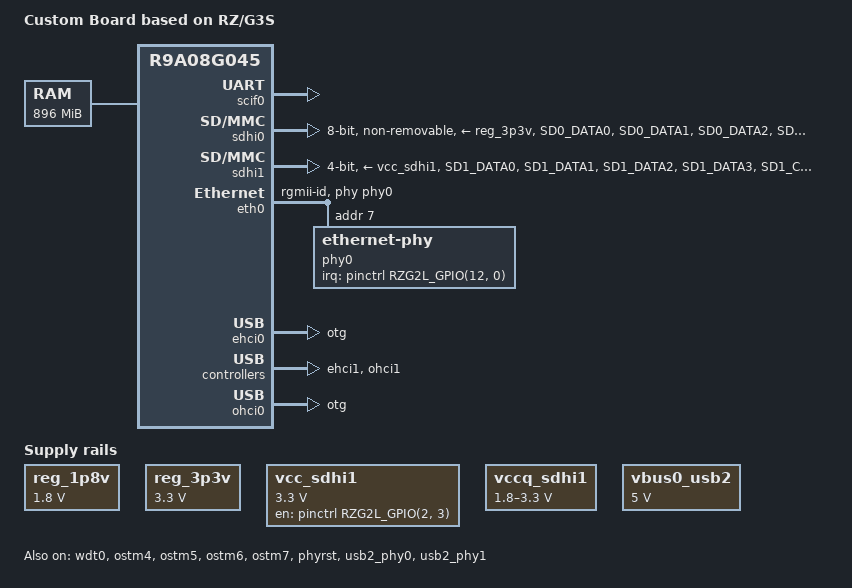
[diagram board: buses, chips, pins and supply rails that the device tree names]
/dts-v1/;
#include <dt-bindings/gpio/gpio.h>
#include <dt-bindings/pinctrl/rzg2l-pinctrl.h>
#include "r9a08g045s33.dtsi"

/ {
    /* Please modify the 'model' and 'compatible' for your board. However, you must keep "renesas,r9a07g045" because some drivers reference this string */
    model = "Custom Board based on RZ/G3S";
    compatible = "custom,rzg3s-board", "renesas,r9a08g045";

    /* Aliases */
    aliases {
        serial0 = &scif0;  /* force SCIF0 to /dev/ttySC0 */
        mmc0 = &sdhi0; /* eMMC, force SDHI0 as /dev/mmcblk0 */
        mmc1 = &sdhi1; /* SD card, force SDHI1 as /dev/mmcblk1 */
		ethernet0 = &eth0; /* Maps ethernet0 to primary Ethernet controller */
    };

    /* Chosen Node for Console */
    chosen {
        stdout-path = "serial0:115200n8";  /* Set serial console */
    };

	/* Memory Node */
    memory@48000000 {
		device_type = "memory";
		/* First 128MB is reserved for secure area. */
		reg = <0x0 0x48000000 0x0 0x38000000>;
	};

	/* Voltage Regulators */
    reg_1p8v: regulator2 {
		compatible = "regulator-fixed";
		regulator-name = "fixed-1.8V";
		regulator-min-microvolt = <1800000>;
		regulator-max-microvolt = <1800000>;
		regulator-boot-on;
		regulator-always-on;
	};

    reg_3p3v: regulator4 {
		compatible = "regulator-fixed";
		regulator-name = "fixed-3.3V";
		regulator-min-microvolt = <3300000>;
		regulator-max-microvolt = <3300000>;
		regulator-boot-on;
		regulator-always-on;
	};

	/* GPIO-controlled regulator for SD card interface */
    vcc_sdhi1: regulator-vcc-sdhi1 {
		compatible = "regulator-fixed";
		regulator-name = "SDHI1 Vcc";
		regulator-min-microvolt = <3300000>;
		regulator-max-microvolt = <3300000>;
		gpios = <&pinctrl RZG2L_GPIO(2, 3) GPIO_ACTIVE_HIGH>;
		enable-active-high;
	};

	/* GPIO-controlled regulator for SD card interface */
	vccq_sdhi1: regulator-vccq-sdhi1 {
		compatible = "regulator-gpio";
		regulator-name = "SDHI1 VccQ";
		regulator-min-microvolt = <1800000>;
		regulator-max-microvolt = <3300000>;
		gpios = <&pinctrl RZG2L_GPIO(4, 2) GPIO_ACTIVE_HIGH>;
		gpios-states = <1>;
		states = <3300000 1>, <1800000 0>;
	};

	/* USB VBUS power supply */
	vbus0_usb2: regulator-vbus0-usb2 {
		compatible = "regulator-fixed";
		regulator-name = "USB20_VBUS0";
		regulator-min-microvolt = <5000000>;
		regulator-max-microvolt = <5000000>;
	};

};

/* External clock configuration */
&extal_clk {
	clock-frequency = <24000000>;
};

/* Watchdog Timer configuration */
&wdt0 {
	status = "okay";
	timeout-sec = <60>;
};

/* OS Timer configuration */
&ostm4 {
	status = "okay";
};

&ostm5 {
	status = "okay";
};

&ostm6 {
	status = "okay";
};

&ostm7 {
	status = "okay";
};

/* Serial Interface configuration */
&scif0 {
	pinctrl-names = "default";
	pinctrl-0 = <&scif0_pins>;
	status = "okay";
};

/* eMMC controller configuration */
&sdhi0 { 
    pinctrl-0 = <&sdhi0_emmc_pins>;
    pinctrl-1 = <&sdhi0_emmc_pins>;
    pinctrl-names = "default", "state_uhs";

    vmmc-supply = <&reg_3p3v>;
    vqmmc-supply = <&reg_1p8v>;
    bus-width = <8>;
    //mmc-hs200-1_8v; /* HS200 mode at 1.8V support, uncomment if your board support */
    non-removable;
    fixed-emmc-driver-type = <1>;
    status = "okay";
};

/* SD Card controller configuration */
&sdhi1 {
	pinctrl-0 = <&sdhi1_pins>;
	pinctrl-1 = <&sdhi1_pins_uhs>;
	pinctrl-names = "default", "state_uhs";
	vmmc-supply = <&vcc_sdhi1>;
	vqmmc-supply = <&vccq_sdhi1>;
	bus-width = <4>;
	//sd-uhs-sdr50; /* UHS SDR50 support, uncomment if your board support */
	//sd-uhs-sdr104; /* UHS SDR104 support, uncomment if your board support */
	max-frequency = <125000000>;
	status = "okay";
};

/* Ethernet controller configuration */
&eth0 {
	pinctrl-0 = <&eth0_pins>;
	pinctrl-names = "default";
	phy-handle = <&phy0>;
	phy-mode = "rgmii-id";
	status = "okay";

	phy0: ethernet-phy@7 {
		reg = <7>;
		rxc-skew-psec = <0>;
		txc-skew-psec = <0>;
		rxdv-skew-psec = <0>;
		txen-skew-psec = <0>;
		rxd0-skew-psec = <0>;
		rxd1-skew-psec = <0>;
		rxd2-skew-psec = <0>;
		rxd3-skew-psec = <0>;
		txd0-skew-psec = <0>;
		txd1-skew-psec = <0>;
		txd2-skew-psec = <0>;
		txd3-skew-psec = <0>;

		interrupt-parent = <&pinctrl>;
		interrupts = <RZG2L_GPIO(12, 0) IRQ_TYPE_LEVEL_LOW>; /* RZ_IRQ0 */
	};
};

/* USB EHCI controller 0 (USB 2.0 host) */
&ehci0 {
	dr_mode = "otg";
	status = "okay";
};

/* USB EHCI controller 1 (USB 2.0 host) */
&ehci1 {
	status = "okay";
};

/* USB OHCI controller 0 (USB 1.1 host) */
&ohci0 {
	dr_mode = "otg"; /* Dual-role (host/device) mode with OTG support */
	status = "okay";
};

/* USB OHCI controller 1 (USB 1.1 host) */
&ohci1 {
	status = "okay";
};

/* PHY reset controller */
&phyrst {
	status = "okay";
};

/* USB PHY 0 configuration */
&usb2_phy0 {
	pinctrl-0 = <&usb0_pins>;
	pinctrl-names = "default";

	vbus-supply = <&vbus0_usb2>;
	status = "okay";
};

/* USB PHY 1 configuration */
&usb2_phy1 {
	pinctrl-0 = <&usb1_pins>;
	pinctrl-names = "default";

	status = "okay";
};

/*  Pin Control configuration - defines all the pin muxing for the SoC */
&pinctrl {

    /* SCIF0 (Serial Interface) pin configuration */
    scif0_pins: scif0 {
		pinmux = <RZG2L_PORT_PINMUX(6, 3, 1)>, /* RXD */
			 <RZG2L_PORT_PINMUX(6, 4, 1)>; /* TXD */
	};

	/* eMMC (SDHI0) pin configuration */
    sdhi0_emmc_pins: sd0-emmc {
		pins = "SD0_DATA0", "SD0_DATA1", "SD0_DATA2", "SD0_DATA3",
		       "SD0_DATA4", "SD0_DATA5", "SD0_DATA6", "SD0_DATA7",
		       "SD0_CLK", "SD0_CMD", "SD0_RST#";
		power-source = <1800>;
	};

	/* SD Card (SDHI1) pin configuration - 3.3V mode */
    sdhi1_pins: sd1 {
		data {
			pins = "SD1_DATA0", "SD1_DATA1", "SD1_DATA2", "SD1_DATA3";
			power-source = <3300>;
		};

		ctrl {
			pins = "SD1_CLK", "SD1_CMD";
			power-source = <3300>;
		};

		cd1 {
			pinmux = <RZG2L_PORT_PINMUX(0, 2, 1)>; /* SD1_CD */
		};
	};

	/* SD Card (SDHI1) pin configuration - 1.8V UHS mode */
	sdhi1_pins_uhs: sd1-uhs {
		data {
			pins = "SD1_DATA0", "SD1_DATA1", "SD1_DATA2", "SD1_DATA3";
			power-source = <1800>;
		};

		ctrl {
			pins = "SD1_CLK", "SD1_CMD";
			power-source = <1800>;
		};

		cd {
			pinmux = <RZG2L_PORT_PINMUX(0, 2, 1)>; /* SD1_CD */
		};
	};

	/* Ethernet pin configuration */
    eth0_pins: eth0 {
		txc {
			pinmux = <RZG2L_PORT_PINMUX(1, 0, 1)>;  /* ET0_TXC */
			power-source = <1800>;
			output-enable;
			input-enable;
			drive-strength-microamp = <5200>;
		};

		tx_ctl {
			pinmux = <RZG2L_PORT_PINMUX(1, 1, 1)>;  /* ET0_TX_CTL */
			power-source = <1800>;
			output-enable;
			drive-strength-microamp = <5200>;
		};

		mux {
			pinmux = <RZG2L_PORT_PINMUX(1, 2, 1)>,	/* ET0_TXD0 */
				 <RZG2L_PORT_PINMUX(1, 3, 1)>,	/* ET0_TXD1 */
				 <RZG2L_PORT_PINMUX(1, 4, 1)>,	/* ET0_TXD2 */
				 <RZG2L_PORT_PINMUX(2, 0, 1)>,	/* ET0_TXD3 */
				 <RZG2L_PORT_PINMUX(3, 0, 1)>,	/* ET0_RXC */
				 <RZG2L_PORT_PINMUX(3, 1, 1)>,	/* ET0_RX_CTL */
				 <RZG2L_PORT_PINMUX(3, 2, 1)>,	/* ET0_RXD0 */
				 <RZG2L_PORT_PINMUX(3, 3, 1)>,	/* ET0_RXD1 */
				 <RZG2L_PORT_PINMUX(4, 0, 1)>,	/* ET0_RXD2 */
				 <RZG2L_PORT_PINMUX(4, 1, 1)>,	/* ET0_RXD3 */
				 <RZG2L_PORT_PINMUX(4, 3, 1)>,	/* ET0_MDC */
				 <RZG2L_PORT_PINMUX(4, 4, 1)>,	/* ET0_MDIO */
				 <RZG2L_PORT_PINMUX(4, 5, 1)>;	/* ET0_LINKSTA */
			power-source = <1800>;
		};
	};

	/* USB0 pin configuration */
    usb0_pins: usb0 {
		peri {
			pinmux = <RZG2L_PORT_PINMUX(5, 0, 1)>, /* VBUS */
				 <RZG2L_PORT_PINMUX(5, 2, 1)>; /* OVC */
		};

		otg {
			pinmux = <RZG2L_PORT_PINMUX(5, 3, 1)>; /* OTG_ID */
			bias-pull-up;
		};
	};

	/* USB1 pin configuration */
	usb1_pins: usb1 {
		pinmux = <RZG2L_PORT_PINMUX(5, 4, 5)>, /* OVC */
			 <RZG2L_PORT_PINMUX(6, 0, 1)>; /* VBUS */
	};

};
